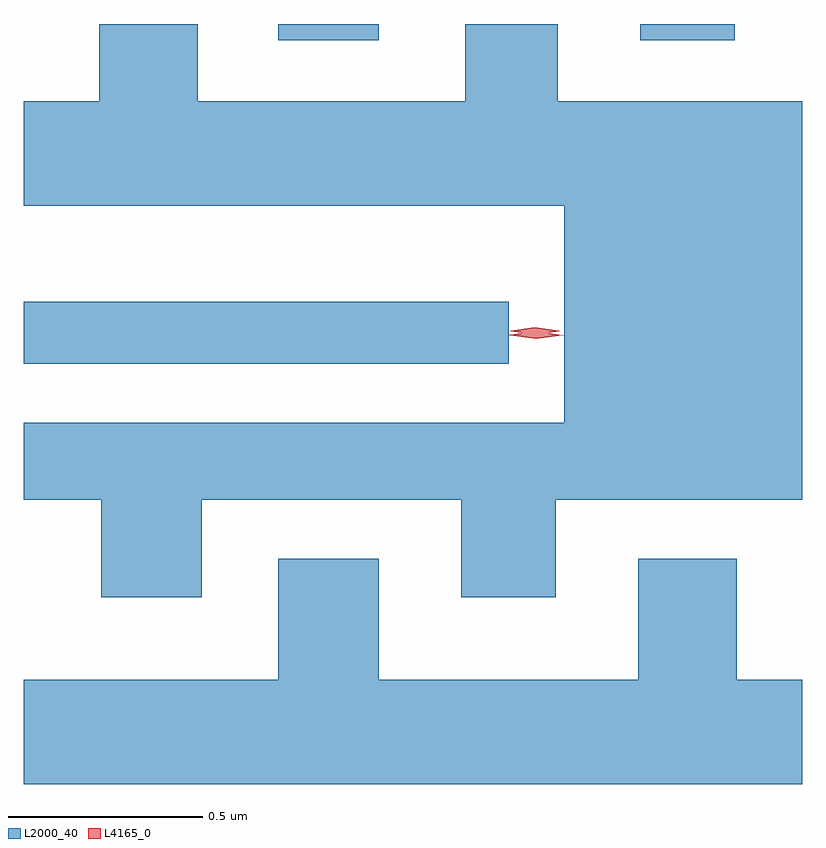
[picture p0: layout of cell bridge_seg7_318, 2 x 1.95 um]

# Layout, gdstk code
import gdstk
lib = gdstk.Library(unit=1e-6, precision=1e-09)
def R(c, l, rs):  # rectangles x0, y0, x1, y1
    for r in rs: c.add(gdstk.rectangle(r[:2], r[2:], *l))
def P(c, l, *ps):  # polygons
    for p in ps: c.add(gdstk.Polygon(p, *l))
L2000_40 = (2000, 40)
L4165_0 = (4165, 0)

bridge_seg7_318 = lib.new_cell('bridge_seg7_318')
R(bridge_seg7_318, L2000_40, [(1435.992,1766.456,1437.238,1766.614), (1436.646,1767.286,1436.904,1767.328), (1437.576,1767.286,1437.819,1767.328)])
P(bridge_seg7_318, L2000_40, [(1436.449,1766.106),(1437.116,1766.106),(1437.116,1765.856),(1437.359,1765.856),(1437.359,1766.106),(1437.992,1766.106),(1437.992,1767.129),(1437.364,1767.129),(1437.364,1767.328),(1437.126,1767.328),(1437.126,1767.129),(1436.439,1767.129),(1436.439,1767.328),(1436.186,1767.328),(1436.186,1767.129),(1435.992,1767.129),(1435.992,1766.861),(1437.381,1766.861),(1437.381,1766.304),(1435.992,1766.304),(1435.992,1766.106),(1436.191,1766.106),(1436.191,1765.856),(1436.449,1765.856)],
  [(1437.992,1765.644),(1437.824,1765.644),(1437.824,1765.954),(1437.571,1765.954),(1437.571,1765.644),(1436.904,1765.644),(1436.904,1765.954),(1436.646,1765.954),(1436.646,1765.644),(1435.992,1765.644),(1435.992,1765.376),(1437.992,1765.376)])
P(bridge_seg7_318, L4165_0, [(1437.308,1766.519),(1437.24,1766.528),(1437.239,1766.529),(1437.24,1766.53),(1437.308,1766.539),(1437.377,1766.529),(1437.378,1766.529),(1437.377,1766.528)],
  [(1437.305,1766.53),(1437.243,1766.539),(1437.243,1766.539),(1437.243,1766.54),(1437.305,1766.549),(1437.367,1766.54),(1437.368,1766.54),(1437.367,1766.539)])

lib.write_gds('bridge_seg7_318.gds')
